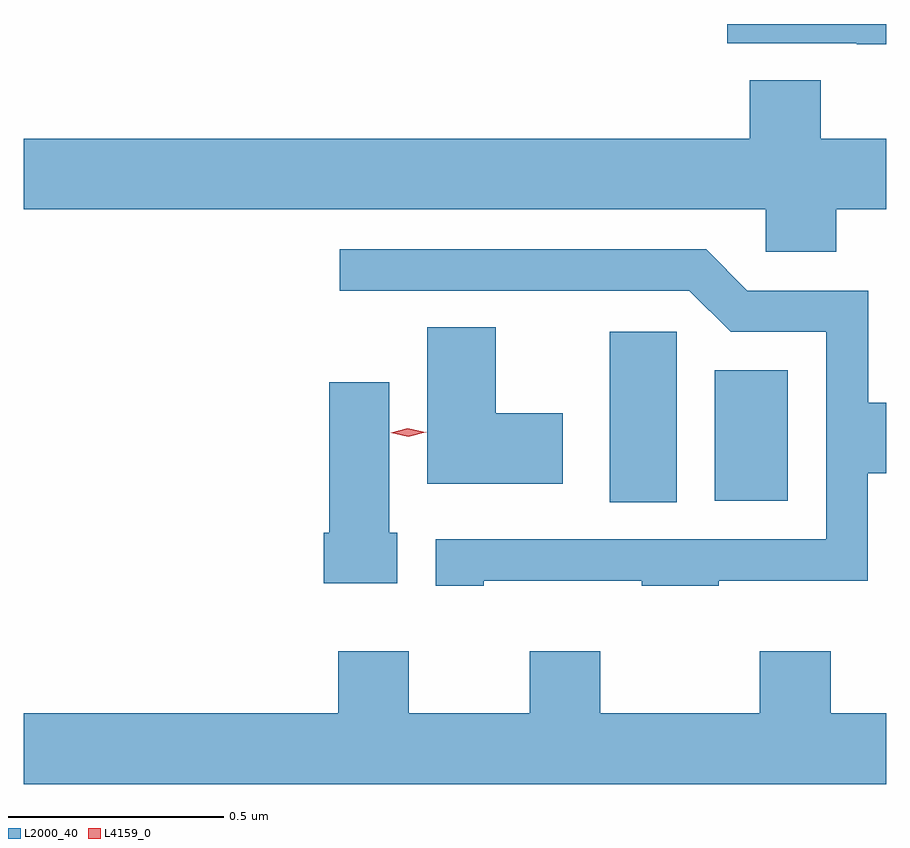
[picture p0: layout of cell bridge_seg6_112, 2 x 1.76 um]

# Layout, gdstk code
import gdstk
lib = gdstk.Library(unit=1e-6, precision=1e-09)
def R(c, l, rs):  # rectangles x0, y0, x1, y1
    for r in rs: c.add(gdstk.rectangle(r[:2], r[2:], *l))
def P(c, l, *ps):  # polygons
    for p in ps: c.add(gdstk.Polygon(p, *l))
L2000_40 = (2000, 40)
L4159_0 = (4159, 0)

bridge_seg6_112 = lib.new_cell('bridge_seg6_112')
R(bridge_seg6_112, L2000_40, [(462.809,983.953,462.964,984.349), (463.052,983.957,463.222,984.259)])
P(bridge_seg6_112, L2000_40, [(463.45,985.062),(463.081,985.062),(463.081,985.017),(463.381,985.017),(463.381,985.015),(463.45,985.015)],
  [(463.334,984.632),(463.45,984.632),(463.45,984.796),(463.298,984.796),(463.298,984.932),(463.133,984.932),(463.133,984.796),(461.45,984.796),(461.45,984.632),(463.17,984.632),(463.17,984.534),(463.334,984.534)],
  [(462.517,983.771),(462.883,983.771),(462.883,983.76),(463.061,983.76),(463.061,983.771),(463.407,983.771),(463.407,984.02),(463.45,984.02),(463.45,984.184),(463.408,984.184),(463.408,984.444),(463.128,984.444),(463.032,984.54),(462.183,984.54),(462.183,984.444),(462.993,984.444),(463.089,984.348),(463.311,984.348),(463.311,983.868),(462.405,983.868),(462.405,983.76),(462.517,983.76)],
  [(462.7,984.16),(462.544,984.16),(462.544,984.359),(462.386,984.359),(462.386,983.996),(462.7,983.996)],
  [(462.316,983.883),(462.298,983.883),(462.298,984.232),(462.158,984.232),(462.158,983.883),(462.146,983.883),(462.146,983.765),(462.316,983.765)],
  [(463.45,983.464),(463.321,983.464),(463.321,983.608),(463.157,983.608),(463.157,983.464),(462.787,983.464),(462.787,983.608),(462.623,983.608),(462.623,983.464),(462.343,983.464),(462.343,983.608),(462.179,983.608),(462.179,983.464),(461.45,983.464),(461.45,983.3),(463.45,983.3)])
P(bridge_seg6_112, L4159_0, [(462.342,984.105),(462.301,984.114),(462.301,984.114),(462.301,984.114),(462.341,984.125),(462.382,984.116),(462.383,984.116),(462.382,984.116)])

lib.write_gds('bridge_seg6_112.gds')
